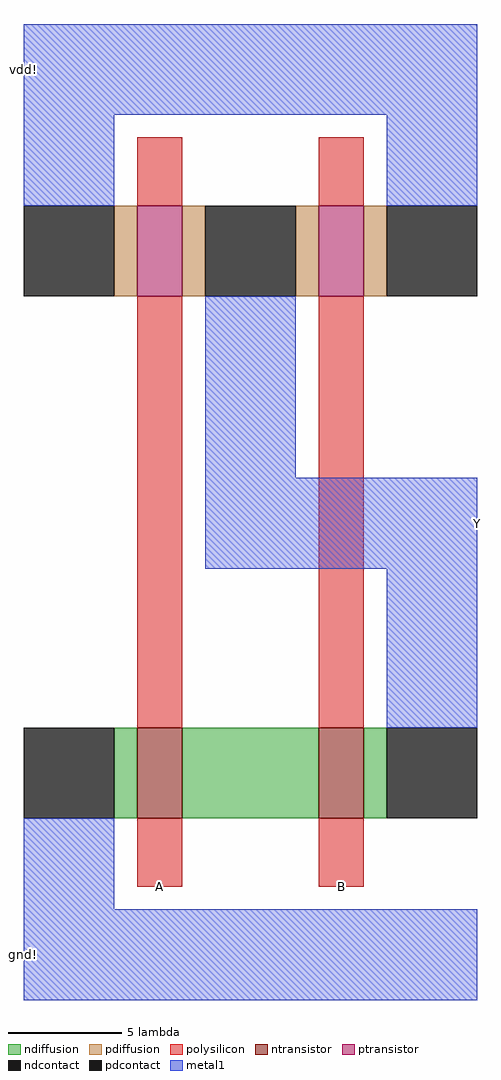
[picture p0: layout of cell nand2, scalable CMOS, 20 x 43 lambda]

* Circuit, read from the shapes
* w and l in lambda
.subckt nand2 A B Y gnd! vdd!
M1 n1 A gnd! VSUBS nfet w=4 l=2
M2 Y B n1 VSUBS nfet w=4 l=2
M3 Y A vdd! NWELL pfet w=4 l=2
M4 vdd! B Y NWELL pfet w=4 l=2
.ends

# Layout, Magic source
magic
tech scmos
<< ntransistor >>
rect 5 8 7 12
rect 13 8 15 12
<< ptransistor >>
rect 5 31 7 35
rect 13 31 15 35
<< ndiffusion >>
rect 4 8 5 12
rect 7 8 13 12
rect 15 8 16 12
<< pdiffusion >>
rect 4 31 5 35
rect 7 31 8 35
rect 12 31 13 35
rect 15 31 16 35
<< ndcontact >>
rect 0 8 4 12
rect 16 8 20 12
<< pdcontact >>
rect 0 31 4 35
rect 8 31 12 35
rect 16 31 20 35
<< polysilicon >>
rect 5 35 7 38
rect 13 35 15 38
rect 5 12 7 31
rect 13 12 15 31
rect 5 5 7 8
rect 13 5 15 8
<< metal1 >>
rect 0 39 20 43
rect 0 35 4 39
rect 16 35 20 39
rect 8 23 12 31
rect 8 19 20 23
rect 16 12 20 19
rect 0 4 4 8
rect 0 0 20 4
<< labels >>
rlabel metal1 0 39 0 43 4 vdd!
rlabel metal1 20 19 20 23 7 Y
rlabel metal1 0 0 0 4 2 gnd!
rlabel polysilicon 5 5 7 5 1 A
rlabel polysilicon 13 5 15 5 1 B
<< end >>
